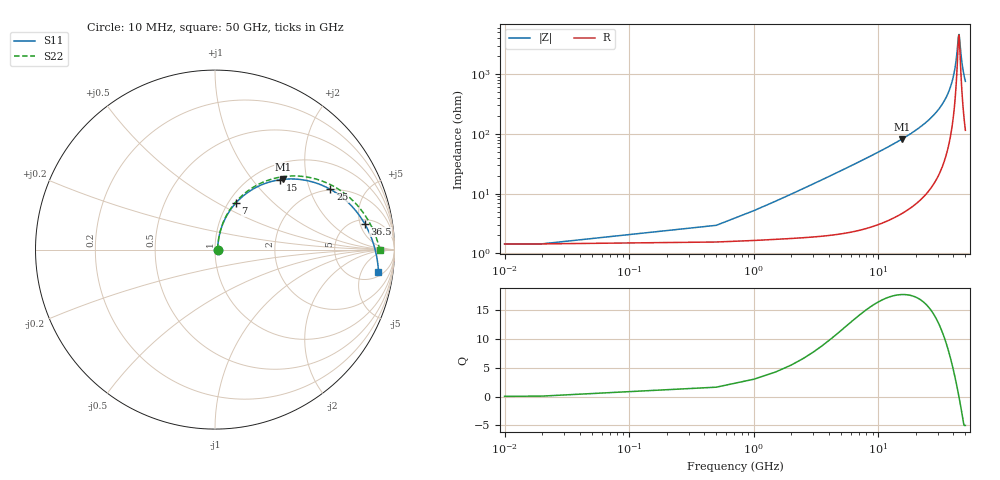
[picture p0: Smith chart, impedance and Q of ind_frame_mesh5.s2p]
! Created with skrf 2.1.0 (http://scikit-rf.org).
# GHz S DB R 50.0
! Port[1] = P1
! Port[2] = P2
!freq dBS11 angS11 dBS21 angS21 dBS12 angS12 dBS22 angS22
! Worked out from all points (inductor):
!   102 points, 10 MHz to 50 GHz, reference 50 ohm
!   read as 1/Y11, port 2 shorted: L = 765 pH near 1.5 GHz
!   highest Q = 17.6 at 15.5 GHz (marker M1), where L = 841 pH
!   self-resonance near 44 GHz
!   S11 on the Smith chart (normalised r, x): 10 MHz: 1.03, +0.00; 7 GHz: 1.08, +0.61; 15 GHz: 1.29, +1.40; 25 GHz: 1.97, +2.79; 36.5 GHz: 5.84, +5.95; 50 GHz: 7, -11
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0.01  -36.99 1.9  -0.12 -0.0  -0.12 -0.0  -36.99 2.0
0.5  -31.47 54.1  -0.14 -1.6  -0.14 -1.6  -31.46 54.2
1  -26.76 67.0  -0.15 -3.1  -0.15 -3.1  -26.76 67.1
1.5  -23.60 71.5  -0.17 -4.5  -0.17 -4.5  -23.60 71.7
2  -21.26 73.3  -0.19 -6.0  -0.19 -6.0  -21.26 73.5
3  -17.89 73.6  -0.25 -8.8  -0.25 -8.8  -17.89 74.0
4  -15.49 72.4  -0.31 -11.6  -0.31 -11.6  -15.49 72.9
5.5  -12.86 69.4  -0.43 -15.8  -0.43 -15.8  -12.87 70.1
7  -10.93 65.9  -0.58 -19.9  -0.58 -19.9  -10.93 66.8
8.5  -9.42 62.2  -0.76 -23.8  -0.76 -23.8  -9.43 63.3
11.5  -7.22 55.0  -1.19 -31.3  -1.19 -31.3  -7.23 56.5
15  -5.48 47.0  -1.78 -39.3  -1.78 -39.3  -5.49 49.0
15.5  -5.28 45.9  -1.87 -40.3  -1.87 -40.3  -5.29 47.9
17  -4.73 42.7  -2.14 -43.5  -2.14 -43.5  -4.74 45.0
20.5  -3.72 35.7  -2.81 -50.4  -2.81 -50.4  -3.73 38.5
25  -2.79 27.6  -3.73 -58.4  -3.73 -58.4  -2.80 30.9
25.5  -2.71 26.7  -3.83 -59.2  -3.83 -59.2  -2.72 30.2
29.5  -2.14 20.2  -4.67 -65.6  -4.67 -65.6  -2.15 24.2
33.5  -1.71 14.1  -5.52 -71.4  -5.52 -71.4  -1.72 18.8
36.5  -1.45 9.8  -6.18 -75.5  -6.18 -75.5  -1.46 15.0
42  -1.09 2.4  -7.40 -82.5  -7.40 -82.5  -1.10 8.5
50  -0.73 -7.7  -9.30 -92.0  -9.30 -92.0  -0.74 -0.1
